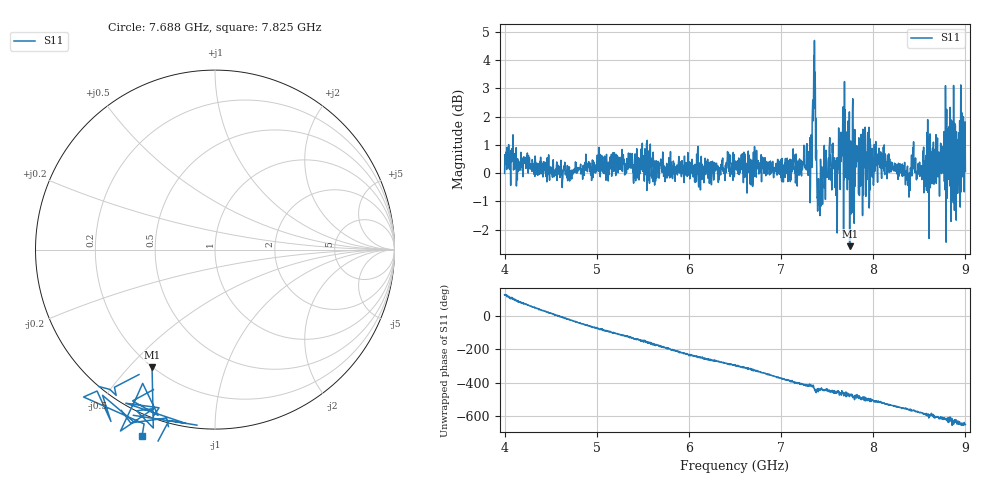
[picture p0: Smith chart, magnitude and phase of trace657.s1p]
! Created with skrf 1.8.0 (http://scikit-rf.org).
# Hz S RI R 50.0
!freq ReS11 ImS11
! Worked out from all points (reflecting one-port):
!   1601 points, 4 GHz to 9 GHz, reference 50 ohm
!   lowest |S11| = -2.6 dB at 7.744 GHz (marker M1), VSWR 6.78, Z = 9.94 - j29.1 ohm
!   phase of S11 starts at 125 deg and turns -776 deg over the sweep
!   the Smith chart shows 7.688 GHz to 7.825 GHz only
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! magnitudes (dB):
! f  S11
! 4 GHz  0.0
! 4.069 GHz  0.8
! 4.625 GHz  -0.5
! 5.25 GHz  0.3
! 5.875 GHz  -0.1
! 6.5 GHz  0.4
! 7.125 GHz  0.3
! 7.294 GHz  -0.1
! 7.325 GHz  1.4
! 7.353 GHz  3.2
! 7.366 GHz  2.3
! 7.4 GHz  -0.5
! 7.412 GHz  -0.7
! 7.509 GHz  -0.1
! 7.597 GHz  -0.6
! 7.65 GHz  1.4
! 7.744 GHz  -2.6
! 7.75 GHz  0.0
! 7.928 GHz  0.5
! 7.981 GHz  -0.1
! 8.119 GHz  1.0
! 8.375 GHz  0.0
! 8.438 GHz  1.1
! 8.619 GHz  -0.5
! 8.819 GHz  0.8
! 8.919 GHz  -0.3
! 8.972 GHz  0.7
! 9 GHz  0.1
